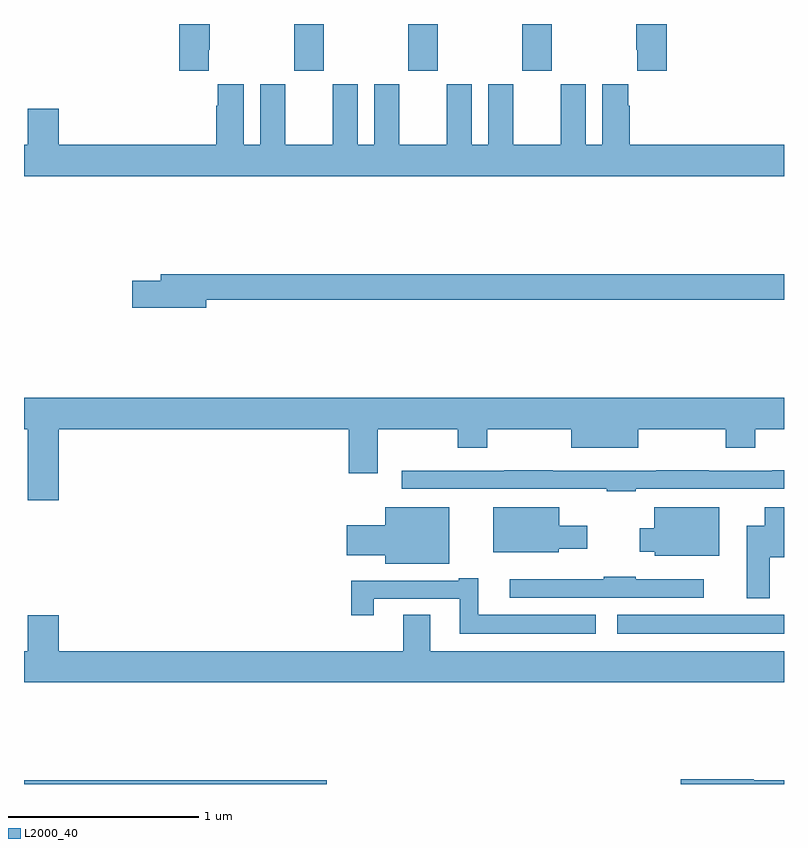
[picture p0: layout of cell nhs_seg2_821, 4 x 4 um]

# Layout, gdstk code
import gdstk
lib = gdstk.Library(unit=1e-6, precision=1e-09)
def R(c, l, rs):  # rectangles x0, y0, x1, y1
    for r in rs: c.add(gdstk.rectangle(r[:2], r[2:], *l))
def A(c, l, x, y, w, h, nx, ny, dx, dy):  # array of equal rectangles
    R(c, l, [(x+i*dx, y+j*dy, x+i*dx+w, y+j*dy+h) for i in range(nx) for j in range(ny)])
def P(c, l, *ps):  # polygons
    for p in ps: c.add(gdstk.Polygon(p, *l))
L2000_40 = (2000, 40)

nhs_seg2_821 = lib.new_cell('nhs_seg2_821')
A(nhs_seg2_821, L2000_40, 154.423, 617.553, 0.155, 0.247, 3, 1, 0.6, 0)
R(nhs_seg2_821, L2000_40, [(153,613.8,154.594,613.82), (156.123,614.591,157,614.692)])
P(nhs_seg2_821, L2000_40, [(153.973,617.665),(153.978,617.665),(153.978,617.8),(153.818,617.8),(153.818,617.553),(153.973,617.553)],
  [(156.383,617.8),(156.223,617.8),(156.223,617.665),(156.227,617.665),(156.227,617.553),(156.383,617.553)],
  [(157,617.164),(156.188,617.164),(156.188,617.369),(156.181,617.369),(156.181,617.482),(156.044,617.482),(156.044,617.164),(155.956,617.164),(155.956,617.482),(155.825,617.482),(155.825,617.164),(155.575,617.164),(155.575,617.482),(155.444,617.482),(155.444,617.164),(155.356,617.164),(155.356,617.482),(155.225,617.482),(155.225,617.164),(154.975,617.164),(154.975,617.482),(154.844,617.482),(154.844,617.164),(154.756,617.164),(154.756,617.482),(154.625,617.482),(154.625,617.164),(154.375,617.164),(154.375,617.482),(154.244,617.482),(154.244,617.164),(154.156,617.164),(154.156,617.482),(154.019,617.482),(154.019,617.369),(154.013,617.369),(154.013,617.164),(153.184,617.164),(153.184,617.353),(153.02,617.353),(153.02,617.164),(153,617.164),(153,617),(157,617)],
  [(153.958,616.348),(157,616.348),(157,616.484),(153.719,616.484),(153.719,616.448),(153.57,616.448),(153.57,616.306),(153.958,616.306)],
  [(153.184,615.668),(154.709,615.668),(154.709,615.435),(154.861,615.435),(154.861,615.668),(155.284,615.668),(155.284,615.569),(155.439,615.569),(155.439,615.668),(155.879,615.668),(155.879,615.569),(156.232,615.569),(156.232,615.668),(156.694,615.668),(156.694,615.569),(156.849,615.569),(156.849,615.668),(157,615.668),(157,615.832),(153,615.832),(153,615.668),(153.02,615.668),(153.02,615.294),(153.184,615.294)],
  [(156.221,615.354),(157,615.354),(157,615.452),(156.937,615.452),(156.937,615.45),(156.605,615.45),(156.605,615.452),(156.328,615.452),(156.328,615.45),(155.783,615.45),(155.783,615.452),(155.527,615.452),(155.527,615.45),(154.989,615.45),(154.989,615.354),(155.914,615.354),(155.914,615.353),(156.068,615.353),(156.068,615.342),(156.221,615.342)],
  [(155.814,615.038),(155.965,615.038),(155.965,615.16),(155.818,615.16),(155.818,615.256),(155.471,615.256),(155.471,615.02),(155.814,615.02)],
  [(155.239,615.256),(154.901,615.256),(154.901,615.163),(154.698,615.163),(154.698,615.005),(154.901,615.005),(154.901,614.96),(155.239,614.96)],
  [(156.658,615.256),(156.317,615.256),(156.317,615.145),(156.242,615.145),(156.242,615.023),(156.321,615.023),(156.321,615.002),(156.658,615.002)],
  [(156.925,614.993),(157,614.993),(157,615.256),(156.899,615.256),(156.899,615.16),(156.803,615.16),(156.803,614.777),(156.925,614.777)],
  [(156.577,614.877),(156.221,614.877),(156.221,614.89),(156.052,614.89),(156.052,614.878),(155.556,614.878),(155.556,614.781),(156.577,614.781)],
  [(156.01,614.692),(155.392,614.692),(155.392,614.884),(155.288,614.884),(155.288,614.871),(154.723,614.871),(154.723,614.688),(154.84,614.688),(154.84,614.775),(155.294,614.775),(155.294,614.591),(156.01,614.591)],
  [(157,614.5),(155.137,614.5),(155.137,614.69),(154.997,614.69),(154.997,614.5),(153.184,614.5),(153.184,614.689),(153.02,614.689),(153.02,614.5),(153,614.5),(153,614.336),(157,614.336)],
  [(157,613.82),(156.84,613.82),(156.84,613.826),(156.456,613.826),(156.456,613.8),(157,613.8)])

lib.write_gds('nhs_seg2_821.gds')
